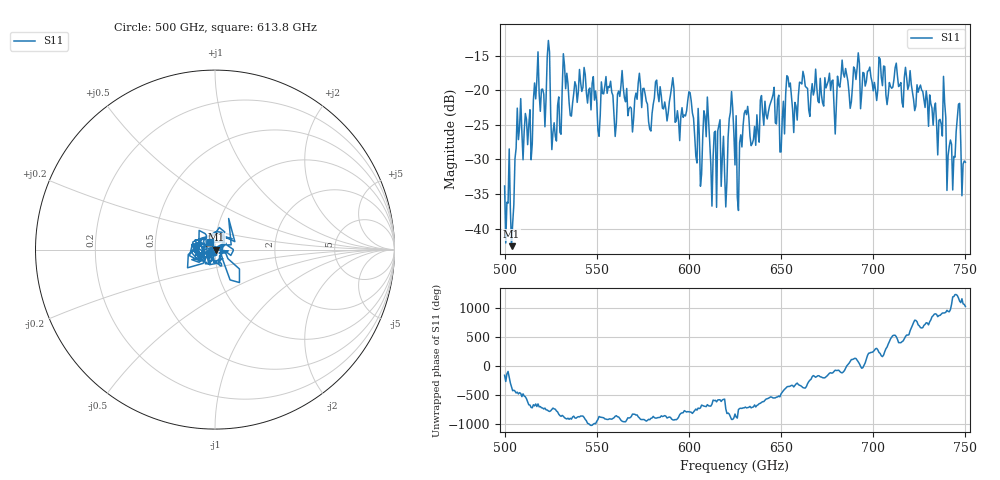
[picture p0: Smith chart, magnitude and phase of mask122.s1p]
!Created with skrf (http://scikit-rf.org).
# GHz S MA R 50.0
!freq magS11 angS11
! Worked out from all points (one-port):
!   401 points, 500 GHz to 750 GHz, reference 50 ohm
!   lowest |S11| = -42.5 dB at 503.8 GHz (marker M1), VSWR 1.02, Z = 50.8 - j0.0152 ohm
!   |S11| at or under -10 dB: start of sweep to end of sweep
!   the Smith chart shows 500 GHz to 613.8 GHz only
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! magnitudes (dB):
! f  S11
! 500 GHz  -33.8
! 503.8 GHz  -42.5
! 507.5 GHz  -27.1
! 513.8 GHz  -22.8
! 516.9 GHz  -21.3
! 523.8 GHz  -12.8
! 526.9 GHz  -24.7
! 531.2 GHz  -19.9
! 562.5 GHz  -20.9
! 578.8 GHz  -25.6
! 590.6 GHz  -19.5
! 593.8 GHz  -23.0
! 600.6 GHz  -20.4
! 605.6 GHz  -26.5
! 609.4 GHz  -26.7
! 611.9 GHz  -30.7
! 618.8 GHz  -26.7
! 622.5 GHz  -23.2
! 625 GHz  -30.8
! 627.5 GHz  -27.6
! 631.2 GHz  -23.5
! 656.2 GHz  -22.8
! 687.5 GHz  -22.6
! 718.8 GHz  -19.9
! 738.1 GHz  -18.0
! 741.2 GHz  -28.1
! 746.2 GHz  -22.0
! 750 GHz  -30.4
